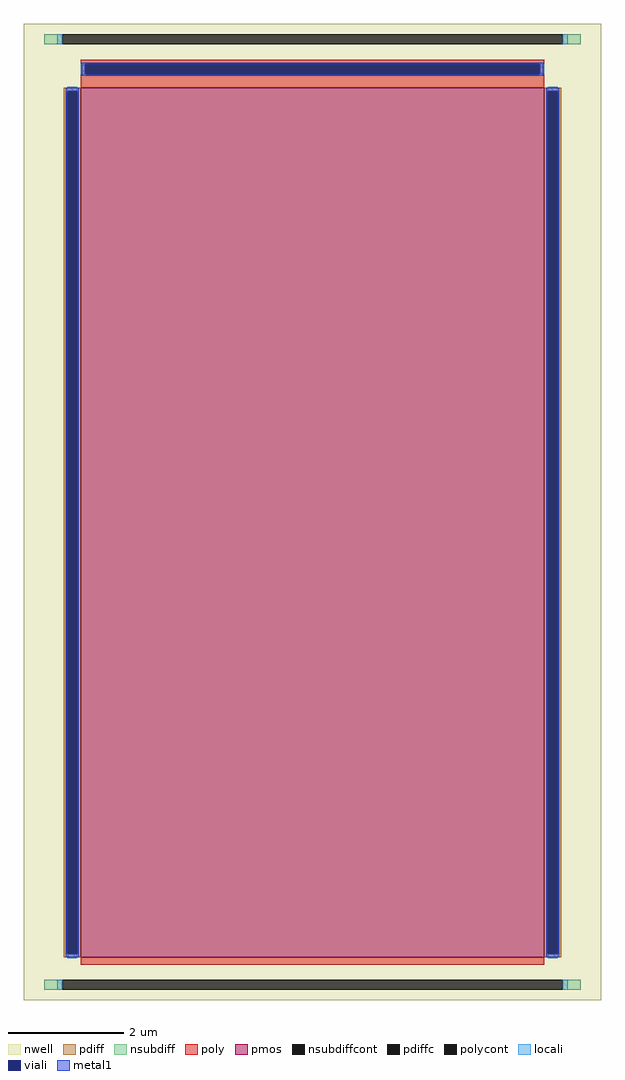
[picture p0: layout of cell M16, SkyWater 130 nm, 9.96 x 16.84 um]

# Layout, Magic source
magic
tech sky130B
magscale 1 2
<< nwell >>
rect -996 -1684 996 1684
<< pmos >>
rect -800 -1536 800 1464
<< pdiff >>
rect -858 1452 -800 1464
rect -858 -1524 -846 1452
rect -812 -1524 -800 1452
rect -858 -1536 -800 -1524
rect 800 1452 858 1464
rect 800 -1524 812 1452
rect 846 -1524 858 1452
rect 800 -1536 858 -1524
<< pdiffc >>
rect -846 -1524 -812 1452
rect 812 -1524 846 1452
<< nsubdiff >>
rect -926 1614 -864 1648
rect 864 1614 926 1648
rect -926 -1648 -864 -1614
rect 864 -1648 926 -1614
<< nsubdiffcont >>
rect -864 1614 864 1648
rect -864 -1648 864 -1614
<< poly >>
rect -800 1545 800 1561
rect -800 1511 -784 1545
rect 784 1511 800 1545
rect -800 1464 800 1511
rect -800 -1562 800 -1536
<< polycont >>
rect -784 1511 784 1545
<< locali >>
rect -880 1614 -864 1648
rect 864 1614 880 1648
rect -800 1511 -784 1545
rect 784 1511 800 1545
rect -846 1452 -812 1468
rect -846 -1540 -812 -1524
rect 812 1452 846 1468
rect 812 -1540 846 -1524
rect -880 -1648 -864 -1614
rect 864 -1648 880 -1614
<< viali >>
rect -784 1511 784 1545
rect -846 -1524 -812 1452
rect 812 -1524 846 1452
<< metal1 >>
rect -796 1545 796 1551
rect -796 1511 -784 1545
rect 784 1511 796 1545
rect -796 1505 796 1511
rect -852 1452 -806 1464
rect -852 -1524 -846 1452
rect -812 -1524 -806 1452
rect -852 -1536 -806 -1524
rect 806 1452 852 1464
rect 806 -1524 812 1452
rect 846 -1524 852 1452
rect 806 -1536 852 -1524
<< properties >>
string FIXED_BBOX -943 -1631 943 1631
string gencell sky130_fd_pr__pfet_01v8
string library sky130
string parameters w 15 l 8 m 1 nf 1 diffcov 100 polycov 100 guard 1 glc 0 grc 0 gtc 1 gbc 1 tbcov 100 rlcov 100 topc 1 botc 0 poverlap 0 doverlap 1 lmin 0.15 wmin 0.42 compatible {sky130_fd_pr__pfet_01v8  sky130_fd_pr__pfet_01v8_lvt sky130_fd_pr__pfet_01v8_hvt  sky130_fd_pr__pfet_g5v0d10v5} full_metal 0 viasrc 100 viadrn 100 viagate 100 viagb 0 viagr 0 viagl 0 viagt 0
<< end >>
